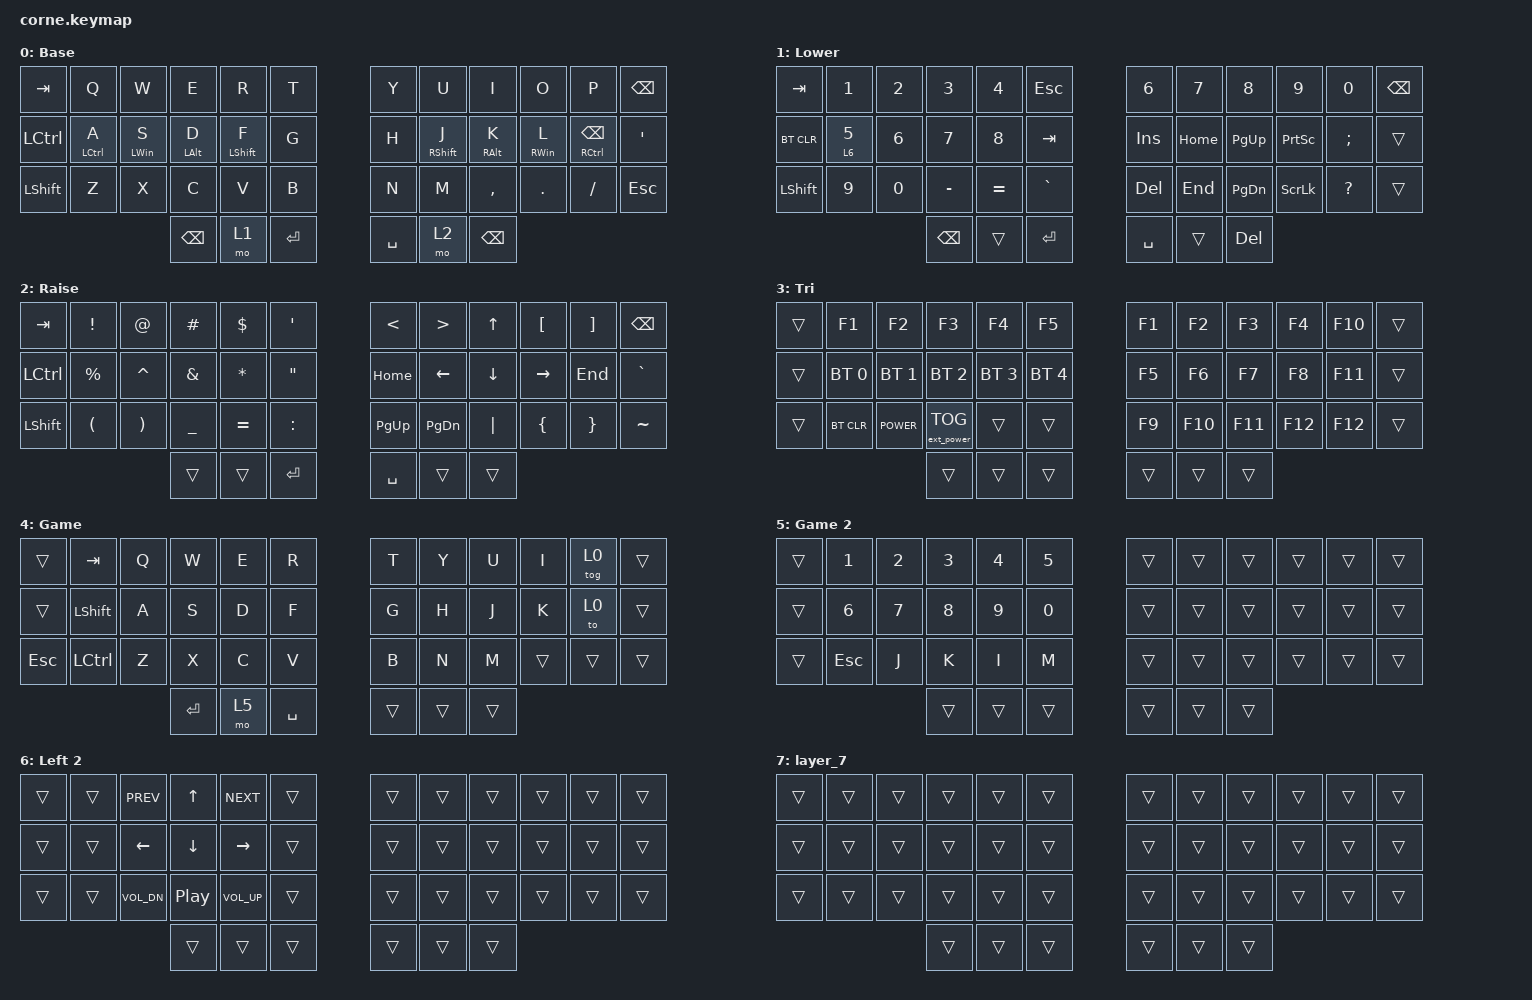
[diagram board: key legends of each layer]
/*
 * Copyright (c) 2020 The ZMK Contributors
 *
 * SPDX-License-Identifier: MIT
 */

#include <behaviors.dtsi>
#include <dt-bindings/zmk/bt.h>
#include <dt-bindings/zmk/ext_power.h>
#include <dt-bindings/zmk/keys.h>
#include <dt-bindings/zmk/keys.h>

/ {
    combos {
        compatible = "zmk,combos";

        gaming {
            bindings = <&to 4>;
            key-positions = <36 41>;
            layers = <0>;
        };

        caps_lock {
            bindings = <&kt CAPS>;
            key-positions = <13 22>;
        };
    };

    behaviors {
        rhrm: rhrm {
            compatible = "zmk,behavior-hold-tap";
            label = "RHRM";
            bindings = <&kp>, <&kp>;

            #binding-cells = <2>;
            tapping-term-ms = <200>;
            quick-tap-ms = <175>;
            flavor = "balanced";
            hold-trigger-key-positions = <36 37 38 0 1 2 3 4 5 12 13 14 15 16 17 24 25 26 27 28 29 30 31 32 6 7 8 33 9 10 34 39 40 41>;
        };

        lhrm: lhrm {
            compatible = "zmk,behavior-hold-tap";
            label = "LHRM";
            bindings = <&kp>, <&kp>;

            #binding-cells = <2>;
            tapping-term-ms = <200>;
            quick-tap-ms = <175>;
            flavor = "balanced";
            hold-trigger-key-positions = <7 6 6 7 8 9 10 11 18 19 20 21 22 23 30 31 32 33 34 35 39 40 41 27 28 29 36 37 38 3 4 5 24 25 26 0 1 2>;
        };

        pinky_layer_swap: pinky_layer_swap {
            compatible = "zmk,behavior-hold-tap";
            label = "PINKY_LAYER_SWAP";
            bindings = <&mo>, <&kp>;

            #binding-cells = <2>;
            hold-trigger-key-positions = <37 40 13 22>;
            flavor = "balanced";
            tapping-term-ms = <200>;
        };
    };

    keymap {
        compatible = "zmk,keymap";

        default_layer {
            // -----------------------------------------------------------------------------------------
            // |  TAB |  Q  |  W  |  E  |  R  |  T  |   |  Y  |  U   |  I  |  O  |  P  | BKSP |
            // | CTRL |  A  |  S  |  D  |  F  |  G  |   |  H  |  J   |  K  |  L  |  ;  |  '   |
            // | SHFT |  Z  |  X  |  C  |  V  |  B  |   |  N  |  M   |  ,  |  .  |  /  | ESC  |
            //                    | GUI | LWR | SPC |   | ENT | RSE  | ALT |

            label = "Base";
            bindings = <
&kp TAB    &kp Q          &kp W             &kp E             &kp R               &kp T        &kp Y      &kp U                &kp I              &kp O              &kp P                          &kp BSPC
&kp LCTRL  &lhrm LCTRL A  &lhrm LEFT_WIN S  &lhrm LEFT_ALT D  &lhrm LEFT_SHIFT F  &kp G        &kp H      &rhrm RIGHT_SHIFT J  &rhrm RIGHT_ALT K  &rhrm RIGHT_WIN L  &rhrm RIGHT_CONTROL BACKSPACE  &kp SQT
&kp LSHFT  &kp Z          &kp X             &kp C             &kp V               &kp B        &kp N      &kp M                &kp COMMA          &kp DOT            &kp FSLH                       &kp ESC
                                            &kp BACKSPACE     &mo 1               &kp ENTER    &kp SPACE  &mo 2                &kp BACKSPACE
            >;
        };

        lower_layer {
            // -----------------------------------------------------------------------------------------
            // |  TAB |  1  |  2  |  3  |  4  |  5  |   |  6  |  7  |  8  |  9  |  0  | BKSP |
            // | BTCLR| BT1 | BT2 | BT3 | BT4 | BT5 |   | LFT | DWN |  UP | RGT |     |      |
            // | SHFT |     |     |     |     |     |   |     |     |     |     |     |      |
            //                    | GUI |     | SPC |   | ENT |     | ALT |

            label = "Lower";
            bindings = <
&kp TAB     &kp N1                  &kp N2        &kp N3         &kp N4     &kp ESCAPE    &kp N6     &kp N7    &kp N8     &kp N9           &kp N0         &kp BSPC
&bt BT_CLR  &pinky_layer_swap 6 N5  &kp NUMBER_6  &kp N7         &kp N8     &kp TAB       &kp INS    &kp HOME  &kp PG_UP  &kp PRINTSCREEN  &kp SEMICOLON  &trans
&kp LSHFT   &kp N9                  &kp N0        &kp MINUS      &kp EQUAL  &kp GRAVE     &kp DEL    &kp END   &kp PG_DN  &kp SCROLLLOCK   &kp QUESTION   &trans
                                                  &kp BACKSPACE  &trans     &kp RET       &kp SPACE  &trans    &kp DEL
            >;
        };

        raise_layer {
            // -----------------------------------------------------------------------------------------
            // |  TAB |  !  |  @  |  #  |  $  |  %  |   |  ^  |  &  |  *  |  (  |  )  | BKSP |
            // | CTRL |     |     |     |     |     |   |  -  |  =  |  [  |  ]  |  \  |  `   |
            // | SHFT |     |     |     |     |     |   |  _  |  +  |  {  |  }  | "|" |  ~   |
            //                    | GUI |     | SPC |   | ENT |     | ALT |

            label = "Raise";
            bindings = <
&kp TAB    &kp EXCL              &kp AT                 &kp HASH   &kp DLLR      &kp SQT              &kp LESS_THAN  &kp GREATER_THAN  &kp UP_ARROW    &kp LEFT_BRACKET  &kp RIGHT_BRACKET  &kp BSPC
&kp LCTRL  &kp PERCENT           &kp CARET              &kp AMPS   &kp ASTERISK  &kp DOUBLE_QUOTES    &kp HOME       &kp LEFT          &kp DOWN_ARROW  &kp RIGHT         &kp END            &kp GRAVE
&kp LSHFT  &kp LEFT_PARENTHESIS  &kp RIGHT_PARENTHESIS  &kp UNDER  &kp EQUAL     &kp COLON            &kp PAGE_UP    &kp PAGE_DOWN     &kp PIPE        &kp LEFT_BRACE    &kp RIGHT_BRACE    &kp TILDE
                                                        &trans     &trans        &kp RET              &kp SPACE      &trans            &trans
            >;
        };

        TRI {
            bindings = <
&trans  &kp F1        &kp F2        &kp F3             &kp F4        &kp F5          &kp F1  &kp F2   &kp F3   &kp F4   &kp F10  &trans
&trans  &bt BT_SEL 0  &bt BT_SEL 1  &bt BT_SEL 2       &bt BT_SEL 3  &bt BT_SEL 4    &kp F5  &kp F6   &kp F7   &kp F8   &kp F11  &trans
&trans  &bt BT_CLR    &kp C_POWER   &ext_power EP_TOG  &trans        &trans          &kp F9  &kp F10  &kp F11  &kp F12  &kp F12  &trans
                                    &trans             &trans        &trans          &trans  &trans   &trans
            >;

            label = "Tri";
        };

        Gaming {
            bindings = <
&trans      &kp TAB    &kp Q  &kp W       &kp E  &kp R        &kp T   &kp Y   &kp U   &kp I   &tog 0  &trans
&trans      &kp LSHFT  &kp A  &kp S       &kp D  &kp F        &kp G   &kp H   &kp J   &kp K   &to 0   &trans
&kp ESCAPE  &kp LCTRL  &kp Z  &kp X       &kp C  &kp V        &kp B   &kp N   &kp M   &trans  &trans  &trans
                              &kp RETURN  &mo 5  &kp SPACE    &trans  &trans  &trans
            >;

            label = "Game";
        };

        Gaming_2 {
            bindings = <
&trans  &kp N1      &kp N2  &kp N3  &kp N4  &kp N5    &trans  &trans  &trans  &trans  &trans  &trans
&trans  &kp N6      &kp N7  &kp N8  &kp N9  &kp N0    &trans  &trans  &trans  &trans  &trans  &trans
&trans  &kp ESCAPE  &kp J   &kp K   &kp I   &kp M     &trans  &trans  &trans  &trans  &trans  &trans
                            &trans  &trans  &trans    &trans  &trans  &trans
            >;

            label = "Game 2";
        };

        left_hand_extra {
            bindings = <
&trans  &trans  &kp C_PREV      &kp UP_ARROW      &kp C_NEXT    &trans    &trans  &trans  &trans  &trans  &trans  &trans
&trans  &trans  &kp LEFT_ARROW  &kp DOWN          &kp RIGHT     &trans    &trans  &trans  &trans  &trans  &trans  &trans
&trans  &trans  &kp C_VOL_DN    &kp C_PLAY_PAUSE  &kp C_VOL_UP  &trans    &trans  &trans  &trans  &trans  &trans  &trans
                                &trans            &trans        &trans    &trans  &trans  &trans
            >;

            label = "Left 2";
        };

        layer_7 {
            bindings = <
&trans  &trans  &trans  &trans  &trans  &trans    &trans  &trans  &trans  &trans  &trans  &trans
&trans  &trans  &trans  &trans  &trans  &trans    &trans  &trans  &trans  &trans  &trans  &trans
&trans  &trans  &trans  &trans  &trans  &trans    &trans  &trans  &trans  &trans  &trans  &trans
                        &trans  &trans  &trans    &trans  &trans  &trans
            >;
        };
    };

    conditional_layers {
        compatible = "zmk,conditional-layers";

        tri {
            if-layers = <1 2>;
            then-layer = <3>;
        };
    };
};
